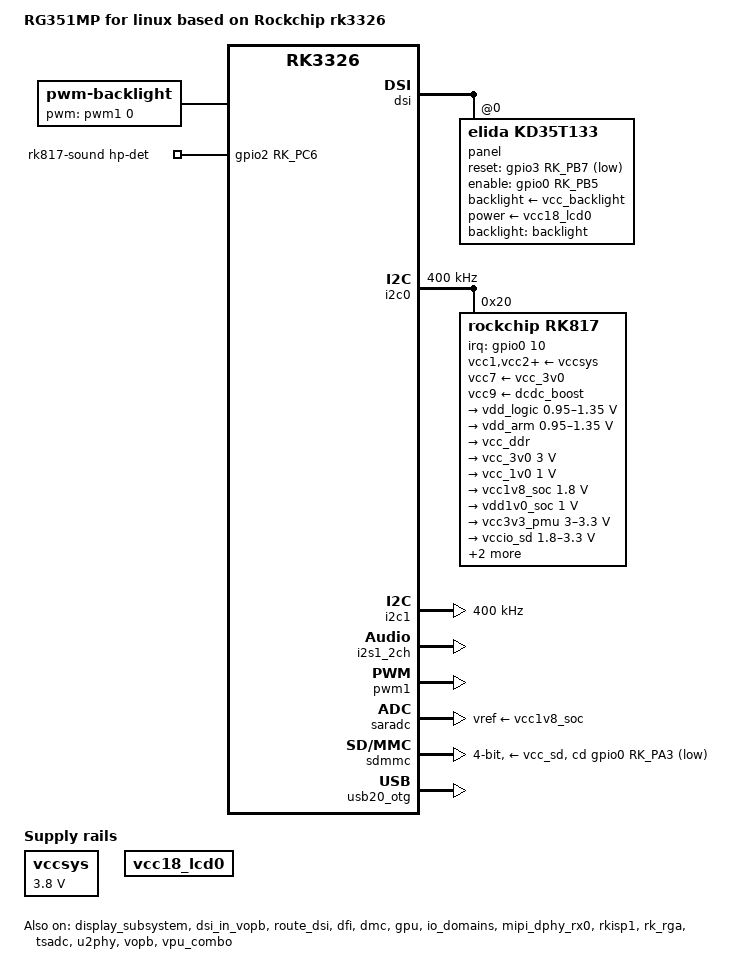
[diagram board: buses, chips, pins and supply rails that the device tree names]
/*
 * (C) Copyright 2019 Hardkernel Co., Ltd
 *
 * SPDX-License-Identifier:     GPL-2.0+
 */

/dts-v1/;
#include <dt-bindings/display/drm_mipi_dsi.h>
#include <dt-bindings/gpio/gpio.h>
#include <dt-bindings/input/input.h>
#include <dt-bindings/pinctrl/rockchip.h>
#include "px30.dtsi"
#include "rk3326.dtsi"
#include "rk3326-linux.dtsi"

/ {
	model = "RG351MP for linux based on Rockchip rk3326";
	compatible = "rockchip,rk3326-rg351mp-linux", "rockchip,rk3326";

	chosen {
                bootargs = "";
	};
	aliases {
		serial0 = "/serial@ff178000";
		serial5 = "/serial@ff030000";
	};

	fiq-debugger {
		compatible = "rockchip,fiq-debugger";
		rockchip,serial-id = <5>;
		rockchip,wake-irq = <0>;
		/* If enable uart uses irq instead of fiq */
		rockchip,irq-mode-enable = <0>;
		rockchip,baudrate = <115200>;  /* Only 115200 and 1500000 */
		interrupts = <GIC_SPI 127 IRQ_TYPE_LEVEL_LOW>;
		pinctrl-names = "default";
		pinctrl-0 = <&uart5_xfer>;
		status = "okay";
	};

	leds: gpio_leds {
		compatible = "gpio-leds";
		status = "disabled";

		/* Blue LED : GPIO0_C1 */
		heartbeat {
			label = "blue:heartbeat";
			gpios = <&gpio0 RK_PC1 GPIO_ACTIVE_HIGH>;
			default-state = "off";
		};

		battery {
			label = "battery_low";
			gpios = <&gpio3 RK_PA5 GPIO_ACTIVE_LOW>;
			default-state = "on";
		};
	};

	backlight: backlight {
		compatible = "pwm-backlight";
		pwms = <&pwm1 0 25000 0>;
		brightness-levels = <
			  0   1   2   3   4   5   6   7
			  8   9  10  11  12  13  14  15
			 16  17  18  19  20  21  22  23
			 24  25  26  27  28  29  30  31
			 32  33  34  35  36  37  38  39
			 40  41  42  43  44  45  46  47
			 48  49  50  51  52  53  54  55
			 56  57  58  59  60  61  62  63
			 64  65  66  67  68  69  70  71
			 72  73  74  75  76  77  78  79
			 80  81  82  83  84  85  86  87
			 88  89  90  91  92  93  94  95
			 96  97  98  99 100 101 102 103
			104 105 106 107 108 109 110 111
			112 113 114 115 116 117 118 119
			120 121 122 123 124 125 126 127
			128 129 130 131 132 133 134 135
			136 137 138 139 140 141 142 143
			144 145 146 147 148 149 150 151
			152 153 154 155 156 157 158 159
			160 161 162 163 164 165 166 167
			168 169 170 171 172 173 174 175
			176 177 178 179 180 181 182 183
			184 185 186 187 188 189 190 191
			192 193 194 195 196 197 198 199
			200 201 202 203 204 205 206 207
			208 209 210 211 212 213 214 215
			216 217 218 219 220 221 222 223
			224 225 226 227 228 229 230 231
			232 233 234 235 236 237 238 239
			240 241 242 243 244 245 246 247
			248 249 250 251 252 253 254 255>;
		default-brightness-level = <200>;
	};

	rk817-sound {
		compatible = "simple-audio-card";
		simple-audio-card,format = "i2s";
		simple-audio-card,name = "rockchip,rk817-codec";
		simple-audio-card,mclk-fs = <256>;
		simple-audio-card,widgets =
			"Microphone", "Mic Jack",
			"Headphone", "Headphone Jack";
		simple-audio-card,routing =
			"MIC_IN", "Mic Jack",
			/*"IN1P", "Mic Jack",*/
			"Headphone Jack", "HPOL",
			"Headphone Jack", "HPOR";
		simple-audio-card,hp-det-gpio = <&gpio2 RK_PC6 GPIO_ACTIVE_HIGH>;
		simple-audio-card,codec-hp-det = <1>;
		simple-audio-card,cpu {
			sound-dai = <&i2s1_2ch>;
		};
		simple-audio-card,codec {
			sound-dai = <&rk817_codec>;
		};
	};

	vccsys: vccsys {
		compatible = "regulator-fixed";
		regulator-name = "vcc3v8_sys";
		regulator-always-on;
		regulator-min-microvolt = <3800000>;
		regulator-max-microvolt = <3800000>;
	};

	vcc18_lcd0: vcc18_lcd0 {
		compatible = "regulator-fixed";
		regulator-name = "vcc18_lcd0_n";
		enable-active-high;
		regulator-boot-on;
		regulator-state-mem {
			regulator-off-in-suspend;
		};
	};

	charge-animation {
		compatible = "rockchip,uboot-charge";
		status = "okay";

		rockchip,uboot-charge-on = <1>;
		rockchip,android-charge-on = <0>;
		rockchip,uboot-exit-charge-level = <0>;
		rockchip,uboot-exit-charge-voltage = <3090>;
		rockchip,screen-on-voltage = <3045>;
		rockchip,uboot-low-power-voltage = <3055>;
		/* turn off screen only, no suspend */
		rockchip,system-suspend = <0>;
		/* auto screen-off in 10 seconds */
		rockchip,auto-off-screen-interval = <10>;
		/* no auto wake-up */
		rockchip,auto-wakeup-interval = <0>;
		rockchip,auto-wakeup-screen-invert = <1>;
	};
};


&bus_apll {
	bus-supply = <&vdd_logic>;
	status = "okay";
};

&cpu0 {
	cpu-supply = <&vdd_arm>;
};

&cpu0_opp_table {
	rockchip,avs = <1>;

	/* bin scaling clock 1.296MHz */
	rockchip,bin-scaling-sel = <
		0               13
		1               13
	>;

	/delete-node/ opp-1416000000;
};

&display_subsystem {
	status = "okay";
};

&dsi {
	status = "okay";

	panel@0 {
		compatible = "elida,kd35t133", "simple-panel-dsi";
		reg = <0>;

		/* pwm1 backlight */
		backlight = <&backlight>;
		/* RK817 LDO7 */
		backlight-supply = <&vcc_backlight>;
		/* RK817 LDO8 */
		power-supply = <&vcc18_lcd0>;
		reset-gpios = <&gpio3 RK_PB7 GPIO_ACTIVE_LOW>;
		enable-gpios = <&gpio0 RK_PB5 GPIO_ACTIVE_HIGH>;
		prepare-delay-ms = <0x14>;
		reset-delay-ms = <0x14>;
		init-delay-ms = <0x14>;
		enable-delay-ms = <0x78>;
		disable-delay-ms = <0x14>;
		unprepare-delay-ms = <0x14>;
		width-mm = <153>;
		height-mm = <85>;
		dsi,flags  = <(MIPI_DSI_MODE_VIDEO |
					MIPI_DSI_MODE_VIDEO_BURST |
					MIPI_DSI_MODE_LPM |
					MIPI_DSI_MODE_EOT_PACKET)>;
		dsi,format = <MIPI_DSI_FMT_RGB888>;
		dsi,lanes = <4>;
		panel-init-sequence = [
			/* 基本页/寄存器 */
			39 00 04 B9 F1 12 83
			39 00 06 B1 00 00 00 DA 80
			39 00 04 B2 3C 12 30
			39 00 0B B3 10 10 28 28 03 FF 00 00 00 00
			15 00 02 B4 80
			39 00 03 B5 0A 0A
			39 00 03 B6 97 97
			39 00 05 B8 26 22 F0 13

			/* 时序/电源相关 */
			39 00 1C BA 33 81 05 F9 0E 0E 20 00 00 00 00 00 00 00 44 25 00 90 0A 00 00 01 4F 01 00 00 37
			15 00 02 BC 47
			39 00 04 BF 02 11 00
			39 00 0A C0 73 73 50 50 00 00 12 70 00
			39 00 0D C1 25 00 32 32 77 E4 FF FF CC CC 77 77
			39 00 07 C6 82 00 BF FF 00 FF
			39 00 07 C7 B8 00 0A 00 00 00
			39 00 05 C8 10 40 1E 02
			15 00 02 CC 0B

			/* Gamma/色度 */
			39 00 23 E0 00 0B 10 2C 3D 3F 42 3A 07 0D 0F 13 15 13 14 0F 16
						00 0B 10 2C 3D 3F 42 3A 07 0D 0F 13 15 13 14 0F 16
			39 00 0F E3 07 07 0B 0B 0B 0B 00 00 00 00 FF 00 C0 10

			/* 接口/时钟特性块 */
			39 00 40 E9 C8 10 0A 00 00 80 81 12 31 23 4F 86 A0 00 47 08 00 00 0C 00 00 00 00 00 0C 00 00 00
						98 02 8B AF 46 02 88 88 88 88 88 98 13 8B AF 57 13 88 88 88 88 88
						00 00 00 00 00 00 00 00 00 00 00 00 00
			39 00 3E EA 97 0C 09 09 09 78 00 00 00 00 00 00 9F 31 8B A8 31 75 88 88 88 88 88
						9F 20 8B A8 20 64 88 88 88 88 88 23 00 00 02 71 00 00 00 00 00 00 00 00 00 00 00 00 00
						00 00 40 80 81 00 00 00 00

			/* 结束/开屏 */
			39 00 04 EF FF FF 01
			05 FA 01 11  /* Sleep Out，延时 ~250ms */
			05 32 01 29  /* Display On，延时 ~50ms  */
		];

		panel-exit-sequence = [
			05 00 01 28  /* Display Off */
			05 00 01 10  /* Sleep In    */
		];

		display-timings {
			native-mode = <&timing0>;

			timing0: timing0 {
					clock-frequency = <0x2faf080>;
					hactive = <0x2d0>;
					vactive = <0x2d0>;
					hfront-porch = <0x8c>;
					hsync-len = <0x50>;
					hback-porch = <0x8c>;
					vfront-porch = <0x14>;
					vsync-len = <0x04>;
					vback-porch = <0x14>;
					hsync-active = <0x00>;
					vsync-active = <0x00>;
					de-active = <0x00>;
					pixelclk-active = <0x00>;
			};
		};
	};
};
&dsi_in_vopb {
	status = "okay";
};

&route_dsi {
	connect = <&vopb_out_dsi>;
	status = "okay";
};

&dfi {
	status = "okay";
};

&dmc {
	center-supply = <&vdd_logic>;
	status = "okay";
};

&emmc {
	status = "disabled";
};


&sfc {
	status = "disabled";
};

&gpu {
	mali-supply = <&vdd_logic>;
	status = "okay";
};

&i2c0 {
	status = "okay";
	clock-frequency = <400000>;
	i2c-scl-rising-time-ns = <280>;
	i2c-scl-falling-time-ns = <16>;

	rk817: pmic@20 {
		compatible = "rockchip,rk817";
		reg = <0x20>;
		interrupt-parent = <&gpio0>;
		interrupts = <10 IRQ_TYPE_LEVEL_LOW>;
		pinctrl-names = "default", "pmic-sleep",
				"pmic-power-off", "pmic-reset";
		pinctrl-0 = <&pmic_int>;
		pinctrl-1 = <&soc_slppin_slp>, <&rk817_slppin_slp>;
		pinctrl-2 = <&soc_slppin_gpio>, <&rk817_slppin_pwrdn>;
		pinctrl-3 = <&soc_slppin_rst>, <&rk817_slppin_rst>;
		rockchip,system-power-controller;
		wakeup-source;
		#clock-cells = <1>;
		clock-output-names = "rk808-clkout1", "rk808-clkout2";
		//fb-inner-reg-idxs = <2>;

		/* 1: rst regs (default in codes), 0: rst the pmic */
		pmic-reset-func = <1>;

		vcc1-supply = <&vccsys>;
		vcc2-supply = <&vccsys>;
		vcc3-supply = <&vccsys>;
		vcc4-supply = <&vccsys>;
		vcc5-supply = <&vccsys>;
		vcc6-supply = <&vccsys>;
		vcc7-supply = <&vcc_3v0>;
		vcc8-supply = <&vccsys>;
		vcc9-supply = <&dcdc_boost>;

		pwrkey {
			status = "okay";
		};

		pinctrl_rk8xx: pinctrl_rk8xx {
			gpio-controller;
			#gpio-cells = <2>;

			rk817_ts_gpio1: rk817_ts_gpio1 {
				pins = "gpio_ts";
				function = "pin_fun1";
				/* output-low; */
				/* input-enable; */
			};

			rk817_gt_gpio2: rk817_gt_gpio2 {
				pins = "gpio_gt";
				function = "pin_fun1";
			};

			rk817_pin_ts: rk817_pin_ts {
				pins = "gpio_ts";
				function = "pin_fun0";
			};

			rk817_pin_gt: rk817_pin_gt {
				pins = "gpio_gt";
				function = "pin_fun0";
			};

			rk817_slppin_null: rk817_slppin_null {
				pins = "gpio_slp";
				function = "pin_fun0";
			};

			rk817_slppin_slp: rk817_slppin_slp {
				pins = "gpio_slp";
				function = "pin_fun1";
			};

			rk817_slppin_pwrdn: rk817_slppin_pwrdn {
				pins = "gpio_slp";
				function = "pin_fun2";
			};

			rk817_slppin_rst: rk817_slppin_rst {
				pins = "gpio_slp";
				function = "pin_fun3";
			};
		};

		regulators {
			vdd_logic: DCDC_REG1 {
				regulator-always-on;
				regulator-boot-on;
				regulator-min-microvolt = <950000>;
				regulator-max-microvolt = <1350000>;
				regulator-init-microvolt = <1150000>;
				regulator-ramp-delay = <6001>;
				regulator-initial-mode = <0x2>;
				regulator-name = "vdd_logic";
				regulator-state-mem {
					regulator-on-in-suspend;
					regulator-suspend-microvolt = <950000>;
				};
			};

			vdd_arm: DCDC_REG2 {
				regulator-always-on;
				regulator-boot-on;
				regulator-min-microvolt = <950000>;
				regulator-max-microvolt = <1350000>;
				regulator-init-microvolt = <1250000>;
				regulator-ramp-delay = <6001>;
				regulator-initial-mode = <0x2>;
				regulator-name = "vdd_arm";
				regulator-state-mem {
					regulator-off-in-suspend;
					regulator-suspend-microvolt = <950000>;
				};
			};

			vcc_ddr: DCDC_REG3 {
				regulator-always-on;
				regulator-boot-on;
				regulator-initial-mode = <0x2>;
				regulator-name = "vcc_ddr";
				regulator-state-mem {
					regulator-on-in-suspend;
				};
			};

			vcc_3v0: DCDC_REG4 {
				regulator-always-on;
				regulator-boot-on;
				regulator-min-microvolt = <3000000>;
				regulator-max-microvolt = <3000000>;
				regulator-initial-mode = <0x2>;
				regulator-name = "vcc_3v0";
				regulator-state-mem {
					regulator-off-in-suspend;
					regulator-suspend-microvolt = <3000000>;
				};
			};

			/* Not Used */
			vcc_1v0: LDO_REG1 {
				regulator-always-on;
				regulator-boot-on;
				regulator-min-microvolt = <1000000>;
				regulator-max-microvolt = <1000000>;
				regulator-name = "vcc_1v0";
				regulator-state-mem {
					regulator-on-in-suspend;
					regulator-suspend-microvolt = <1000000>;
				};
			};

			vcc1v8_soc: LDO_REG2 {
				regulator-always-on;
				regulator-boot-on;
				regulator-min-microvolt = <1800000>;
				regulator-max-microvolt = <1800000>;

				regulator-name = "vcc1v8_soc";
				regulator-state-mem {
					regulator-on-in-suspend;
					regulator-suspend-microvolt = <1800000>;
				};
			};

			vdd1v0_soc: LDO_REG3 {
				regulator-always-on;
				regulator-boot-on;
				regulator-min-microvolt = <1000000>;
				regulator-max-microvolt = <1000000>;

				regulator-name = "vcc1v0_soc";
				regulator-state-mem {
					regulator-on-in-suspend;
					regulator-suspend-microvolt = <1000000>;
				};
			};

			vcc3v3_pmu: LDO_REG4 {
				regulator-always-on;
				regulator-boot-on;
				regulator-min-microvolt = <3000000>;
				regulator-max-microvolt = <3300000>;

				regulator-name = "vcc3v3_pmu";
				regulator-state-mem {
					regulator-on-in-suspend;
					regulator-suspend-microvolt = <3000000>;

				};
			};

			vccio_sd: LDO_REG5 {
				regulator-always-on;
				regulator-boot-on;
				regulator-min-microvolt = <1800000>;
				regulator-max-microvolt = <3300000>;

				regulator-name = "vccio_sd";
				regulator-state-mem {
					regulator-on-in-suspend;
					regulator-suspend-microvolt = <3300000>;
				};
			};

			vcc_sd: LDO_REG6 {
				regulator-min-microvolt = <3300000>;
				regulator-max-microvolt = <3300000>;
				regulator-boot-on;

				regulator-name = "vcc_sd";
				regulator-state-mem {
					regulator-on-in-suspend;
					regulator-suspend-microvolt = <3300000>;

				};
			};

			/* Rev 0.2 LCD Backlight Power */
			vcc_backlight: LDO_REG7 {
				regulator-always-on;
				regulator-boot-on;
				regulator-min-microvolt = <1800000>;
				regulator-max-microvolt = <3300000>;
				regulator-name = "vcc_backlight";
				regulator-state-mem {
					regulator-off-in-suspend;
					regulator-suspend-microvolt = <3300000>;
				};
			};

			/* Rev 0.2 LCD IO Power */
			vcc_lcd: LDO_REG8 {
				regulator-always-on;
				regulator-boot-on;
				regulator-min-microvolt = <3300000>;
				regulator-max-microvolt = <3300000>;
				regulator-name = "vcc_lcd";
				regulator-state-mem {
					regulator-off-in-suspend;
					regulator-suspend-microvolt = <3300000>;
				};
			};

			dcdc_boost: BOOST {
				regulator-always-on;
				regulator-boot-on;
				regulator-min-microvolt = <5000000>;
				regulator-max-microvolt = <5400000>;
				regulator-name = "boost";
			};

			otg_switch: OTG_SWITCH {
				regulator-boot-on;
				regulator-name = "otg_switch";
			};
		};

		battery {
			compatible = "rk817_fg";
			ocv_table = <3165 3220 3280 3330 3380 3430 3480
			3530 3580 3630 3670 3710 3750 3790
			3830 3870 3910 3950 3990 3995 4000>;


			/* KPL605475 Battery Spec */
			/*
				Capacity : 3.7V 3000mA
				Normal Voltage = 3.7V
				Cut-Off Voltage : 3.1V
				Internal Impedance : 180 mOhm
				Charging Voltage : 4.2V
				Charging Voltage Max : 4.25V
				Sample resister : 10 mohm
			*/
			design_capacity = <3380>;
			design_qmax = <3718>;
			bat_res = <100>;
			sleep_enter_current = <300>;
			sleep_exit_current = <300>;
			sleep_filter_current = <100>;
			power_off_thresd = <3000>;
			zero_algorithm_vol = <3850>;
			max_soc_offset = <60>;
			monitor_sec = <5>;
			virtual_power = <0>;
			sample_res = <10>;
			power_dc2otg = <0>;
		};

		charger {
			compatible = "rk817,charger";
			min_input_voltage = <4500>;
			max_input_current = <1500>;
			max_chrg_current = <2000>;
			max_chrg_voltage = <4200>;
			chrg_term_mode = <0>;
			chrg_finish_cur = <52>;
			virtual_power = <0>;
			sample_res = <10>;

			/* P.C.B rev0.2 DC Detect & Charger Status LED GPIO */
			dc_det_gpio  = <&gpio3 RK_PA5 GPIO_ACTIVE_HIGH>;
			bat_low_gpio = <&gpio0 RK_PC1 GPIO_ACTIVE_HIGH>;

			extcon = <&u2phy>;
		};

		rk817_codec: codec {
			#sound-dai-cells = <0>;
			compatible = "rockchip,rk817-codec";
			clocks = <&cru SCLK_I2S1_OUT>;
			clock-names = "mclk";
			pinctrl-names = "default";
			pinctrl-0 = <&i2s1_2ch_mclk>;
			hp-volume = <20>;
			spk-volume = <3>;
			status = "okay";
		};
	};
};

/* EXT Header(P2) : 7(SCL:GPIO0.C2), 8(SDA:GPIO0.C3) */
&i2c1 {
	status = "okay";
	clock-frequency = <400000>;
};

/* MIPI CSI I2C */
&i2c2 {
	status = "disabled";
};

/* I2S 1 Channel Used */
&i2s1_2ch {
	status = "okay";
	#sound-dai-cells = <0>;
};

&io_domains {
	/* GRF Register Voltage select control */
	status = "okay";

	/* SDIO I/O Voltage */
	vccio1-supply = <&vcc_backlight>;
	/* SDMMC I/O Voltage */
	vccio2-supply = <&vccio_sd>;
	/* CAM I/O Voltage */
	vccio3-supply = <&vcc1v8_soc>;
	/* LVDS/LCDC I/O Voltage */
	vccio4-supply = <&vcc_3v0>;
	/* I2S I/O Voltage */
	vccio5-supply = <&vcc_3v0>;
	/* eMMC I/O Voltage */
	vccio6-supply = <&vcc1v8_soc>;
};

&isp_mmu {
	status = "okay";
};

&mipi_dphy_rx0 {
	status = "okay";
};

&rkisp1 {
	status = "okay";
};

&spi0 {
	status = "disabled";
};

&pmu_io_domains {
	/* PMU GRF Register Voltage select control */
	status = "okay";

	/* PMU I/O Voltage */
	pmuio1-supply = <&vcc3v3_pmu>;
	/* GPIO0_B/GPIO0_C, Flash */
	pmuio2-supply = <&vcc3v3_pmu>;
};

/* LCD Backlight PWM */
&pwm1 {
	status = "okay";
};

&rk_rga {
	status = "okay";
};

&saradc {
	status = "okay";
	vref-supply = <&vcc1v8_soc>;
};

&sdmmc {
	bus-width = <4>;
	cap-mmc-highspeed;
	cap-sd-highspeed;
	supports-sd;
	card-detect-delay = <800>;
	ignore-pm-notify;
	cd-gpios = <&gpio0 RK_PA3 GPIO_ACTIVE_LOW>; /*[> CD GPIO <]*/
	sd-uhs-sdr12;
	sd-uhs-sdr25;
	sd-uhs-sdr50;
	sd-uhs-sdr104;
	vqmmc-supply = <&vccio_sd>;
	vmmc-supply = <&vcc_sd>;
	status = "okay";
};

&sdio {
	status = "disabled";
};

&tsadc {
	pinctrl-names = "gpio", "otpout";
	pinctrl-0 = <&tsadc_otp_gpio>;
	pinctrl-1 = <&tsadc_otp_out>;
	status = "okay";
};

&u2phy {
	status = "okay";

	u2phy_host: host-port {
		status = "okay";
	};

	u2phy_otg: otg-port {
		status = "disabled";
	};
};

&usb20_otg {
	status = "okay";
};

&uart1 {
	pinctrl-names = "default";
	pinctrl-0 = <&uart1_xfer &uart1_cts>;
	status = "disabled";
};

&uart0 {
	status = "disabled";
};

&uart2 {
	status = "disabled";
};

&uart3 {
	status = "disabled";
};

&uart4 {
	status = "disabled";
};

&uart5 {
	clock-frequency = <115200>;
	status = "disabled";
};

&vip_mmu {
	status = "okay";
};

&vopb {
	status = "okay";
};

&vopb_mmu {
	status = "okay";
};

&vpu_combo {
	status = "okay";
};

&pinctrl {
	pmic {
		pmic_int: pmic_int {
			rockchip,pins =
				<0 RK_PB2 RK_FUNC_GPIO &pcfg_pull_up>;
		};

		soc_slppin_gpio: soc_slppin_gpio {
			rockchip,pins =
				<0 RK_PA4 RK_FUNC_GPIO &pcfg_output_low>;
		};

		soc_slppin_slp: soc_slppin_slp {
			rockchip,pins =
				<0 RK_PA4 RK_FUNC_1 &pcfg_pull_none>;
		};

		soc_slppin_rst: soc_slppin_rst {
			rockchip,pins =
				<0 RK_PA4 RK_FUNC_2 &pcfg_pull_none>;
		};
	};

    vcc18-lcd {
        vcc18_lcd_n: vcc18-lcd-n {
            rockchip,pins = <0 RK_PB5 RK_FUNC_GPIO &pcfg_pull_none>;
        };
    };

	
	btns {
		btn_pins: btn-pins {
		rockchip,pins =
			<3 RK_PC6 RK_FUNC_GPIO &pcfg_pull_up>,
			<3 RK_PC7 RK_FUNC_GPIO &pcfg_pull_up>,
			<3 RK_PC0 RK_FUNC_GPIO &pcfg_pull_up>,
			<3 RK_PC1 RK_FUNC_GPIO &pcfg_pull_up>,
			<3 RK_PC2 RK_FUNC_GPIO &pcfg_pull_up>,
			<3 RK_PC3 RK_FUNC_GPIO &pcfg_pull_up>,
			<3 RK_PC4 RK_FUNC_GPIO &pcfg_pull_up>,
			<3 RK_PC5 RK_FUNC_GPIO &pcfg_pull_up>,
			<3 RK_PD1 RK_FUNC_GPIO &pcfg_pull_up>,
			<3 RK_PB6 RK_FUNC_GPIO &pcfg_pull_up>,
			<3 RK_PD0 RK_FUNC_GPIO &pcfg_pull_up>,
			<3 RK_PB3 RK_FUNC_GPIO &pcfg_pull_up>,
			<3 RK_PB4 RK_FUNC_GPIO &pcfg_pull_up>,
			<3 RK_PB5 RK_FUNC_GPIO &pcfg_pull_up>,
			<3 RK_PB2 RK_FUNC_GPIO &pcfg_pull_up>,
			/*<2 RK_PB4 RK_FUNC_GPIO &pcfg_pull_up>,*/
			<2 RK_PB5 RK_FUNC_GPIO &pcfg_pull_up>,
			<2 RK_PB6 RK_FUNC_GPIO &pcfg_pull_up>,
			<2 RK_PB7 RK_FUNC_GPIO &pcfg_pull_up>,
			<2 RK_PC0 RK_FUNC_GPIO &pcfg_pull_up>,
			<3 RK_PA6 RK_FUNC_GPIO &pcfg_pull_down>;
		};
	};
};
